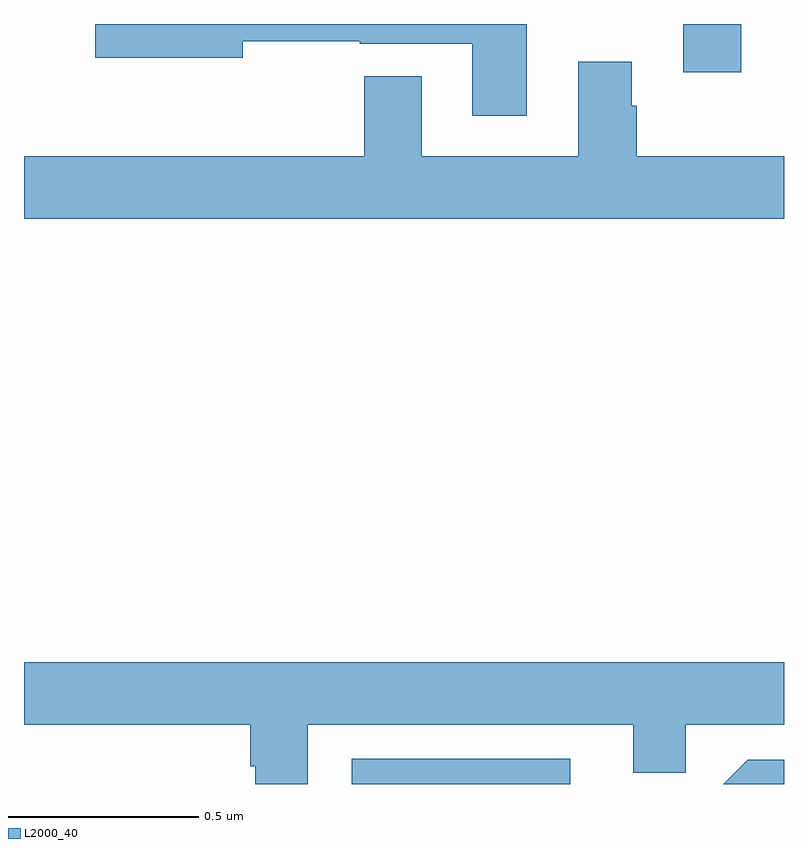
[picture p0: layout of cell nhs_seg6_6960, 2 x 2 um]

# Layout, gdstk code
import gdstk
lib = gdstk.Library(unit=1e-6, precision=1e-09)
def R(c, l, rs):  # rectangles x0, y0, x1, y1
    for r in rs: c.add(gdstk.rectangle(r[:2], r[2:], *l))
def P(c, l, *ps):  # polygons
    for p in ps: c.add(gdstk.Polygon(p, *l))
L2000_40 = (2000, 40)

nhs_seg6_6960 = lib.new_cell('nhs_seg6_6960')
R(nhs_seg6_6960, L2000_40, [(202.863,960.5,203.437,960.567), (203.735,962.373,203.888,962.5)])
P(nhs_seg6_6960, L2000_40, [(203.323,962.5),(202.188,962.5),(202.188,962.411),(202.576,962.411),(202.576,962.454),(202.884,962.454),(202.884,962.448),(203.18,962.448),(203.18,962.259),(203.323,962.259)],
  [(204,962.152),(203.612,962.152),(203.612,962.285),(203.599,962.285),(203.599,962.401),(203.459,962.401),(203.459,962.152),(203.047,962.152),(203.047,962.363),(202.895,962.363),(202.895,962.152),(202,962.152),(202,961.988),(204,961.988)],
  [(202.747,960.656),(203.603,960.656),(203.603,960.529),(203.742,960.529),(203.742,960.656),(204,960.656),(204,960.82),(202,960.82),(202,960.656),(202.595,960.656),(202.595,960.547),(202.608,960.547),(202.608,960.5),(202.747,960.5)],
  [(204,960.564),(203.904,960.564),(203.84,960.5),(204,960.5)])

lib.write_gds('nhs_seg6_6960.gds')
